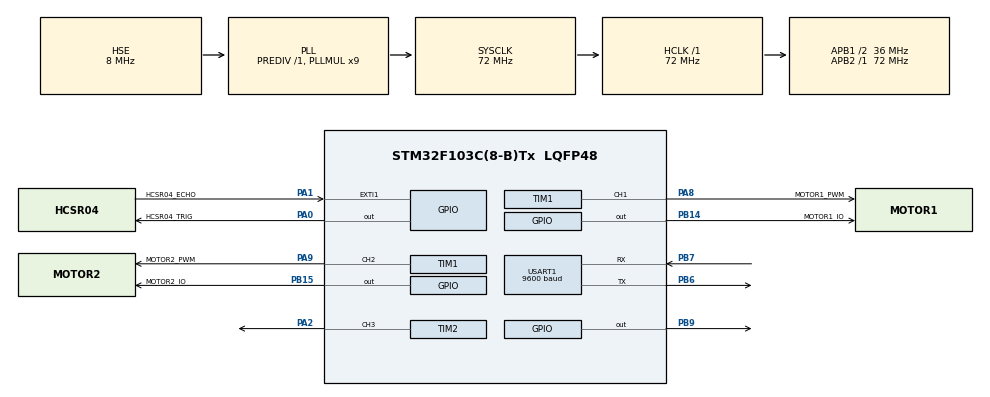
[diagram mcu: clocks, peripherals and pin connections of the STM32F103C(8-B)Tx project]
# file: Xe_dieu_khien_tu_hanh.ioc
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Mcu.Family=STM32F1
Mcu.Name=STM32F103C(8-B)Tx
Mcu.Package=LQFP48
NVIC.EXTI1_IRQn=true\:1\:0\:true\:false\:true\:true\:true\:true
NVIC.PriorityGroup=NVIC_PRIORITYGROUP_4
NVIC.USART1_IRQn=true\:1\:0\:true\:false\:true\:true\:true\:true
PA0-WKUP.GPIO_Label=HCSR04_TRIG
PA0-WKUP.Signal=GPIO_Output
PA1.GPIO_Label=HCSR04_ECHO
PA1.GPIO_ModeDefaultEXTI=GPIO_MODE_IT_RISING_FALLING
PA1.GPIO_PuPd=GPIO_PULLUP
PA1.Signal=GPXTI1
PA13.Mode=Serial_Wire
PA13.Signal=SYS_JTMS-SWDIO
PA14.Mode=Serial_Wire
PA14.Signal=SYS_JTCK-SWCLK
PA2.Signal=S_TIM2_CH3
PA8.GPIO_Label=MOTOR1_PWM
PA8.Signal=S_TIM1_CH1
PA9.GPIO_Label=MOTOR2_PWM
PA9.Signal=S_TIM1_CH2
PB14.GPIO_Label=MOTOR1_IO
PB14.Signal=GPIO_Output
PB15.GPIO_Label=MOTOR2_IO
PB15.Signal=GPIO_Output
PB6.Mode=Asynchronous
PB6.Signal=USART1_TX
PB7.Mode=Asynchronous
PB7.Signal=USART1_RX
PB9.Signal=GPIO_Output
PD0-OSC_IN.Mode=HSE-External-Oscillator
PD0-OSC_IN.Signal=RCC_OSC_IN
PD1-OSC_OUT.Mode=HSE-External-Oscillator
PD1-OSC_OUT.Signal=RCC_OSC_OUT
ProjectManager.HeapSize=0x200
ProjectManager.StackSize=0x400
ProjectManager.TargetToolchain=MDK-ARM V5.32
RCC.AHBFreq_Value=72000000
RCC.APB1CLKDivider=RCC_HCLK_DIV2
RCC.APB1Freq_Value=36000000
RCC.APB1TimFreq_Value=72000000
RCC.APB2Freq_Value=72000000
RCC.APB2TimFreq_Value=72000000
RCC.HCLKFreq_Value=72000000
RCC.PLLMUL=RCC_PLL_MUL9
RCC.PLLSourceVirtual=RCC_PLLSOURCE_HSE
RCC.SYSCLKFreq_VALUE=72000000
RCC.SYSCLKSource=RCC_SYSCLKSOURCE_PLLCLK
RCC.USBFreq_Value=72000000
SH.S_TIM1_CH1.0=TIM1_CH1,PWM Generation1 CH1
SH.S_TIM1_CH2.0=TIM1_CH2,PWM Generation2 CH2
SH.S_TIM2_CH3.0=TIM2_CH3,PWM Generation3 CH3
TIM1.Channel-PWM\ Generation1\ CH1=TIM_CHANNEL_1
TIM1.Channel-PWM\ Generation2\ CH2=TIM_CHANNEL_2
TIM1.Period=1000-1
TIM1.Prescaler=72-1
TIM2.Channel-PWM\ Generation3\ CH3=TIM_CHANNEL_3
TIM2.Period=20000-1
TIM2.Prescaler=72-1
TIM3.Prescaler=72-1
USART1.BaudRate=9600
USART1.VirtualMode=VM_ASYNC
VP_TIM1_VS_ClockSourceINT.Mode=Internal
VP_TIM2_VS_ClockSourceINT.Mode=Internal
VP_TIM3_VS_ClockSourceINT.Mode=Internal
board=custom

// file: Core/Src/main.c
/* USER CODE BEGIN Header */
/**
  ******************************************************************************
  * @file           : main.c
  * @brief          : Main program body
  ******************************************************************************
  * @attention
  *
  * Copyright (c) 2022 STMicroelectronics.
  * All rights reserved.
  *
  * This software is licensed under terms that can be found in the LICENSE file
  * in the root directory of this software component.
  * If no LICENSE file comes with this software, it is provided AS-IS.
  *
  ******************************************************************************
  */
/* USER CODE END Header */
#include "main.h"

/* USER CODE BEGIN Includes */
#include "car.h"
#include "motor.h"
#include "pwm.h"
#include "direction_handle.h"
#include "hcsr04.h"
#include "Servo.h"

/* USER CODE END Includes */

 TIM_HandleTypeDef htim1;
TIM_HandleTypeDef htim2;
TIM_HandleTypeDef htim3;

UART_HandleTypeDef huart1;

void SystemClock_Config(void);
static void MX_GPIO_Init(void);
static void MX_TIM1_Init(void);
static void MX_USART1_UART_Init(void);
static void MX_TIM2_Init(void);
static void MX_TIM3_Init(void);

/* USER CODE BEGIN 0 */

// Nhan mot byte => sinh ra ngat
// Mot chu cai trong ascii la 1 byte
uint8_t data_rx;
uint8_t uart_flag=0;
uint8_t car_speed = 100;

hcsr04_t hcsr04;
Servo sv1;
extern uint8_t buff_distance[2];
extern uint8_t go_back;
extern uint16_t goc;

void HAL_UART_RxCpltCallback(UART_HandleTypeDef *huart)
{
	if (huart->Instance == huart1.Instance)
		{
			uart_flag=1;
			HAL_UART_Receive_IT(&huart1,&data_rx,1);
		}
}

/* USER CODE END 0 */

int main(void)
{

  /* MCU Configuration--------------------------------------------------------*/

  /* Reset of all peripherals, Initializes the Flash interface and the Systick. */
  HAL_Init();

  /* Configure the system clock */
  SystemClock_Config();

  /* Initialize all configured peripherals */
  MX_GPIO_Init();
  MX_TIM1_Init();
  MX_USART1_UART_Init();
  MX_TIM2_Init();
  MX_TIM3_Init();
  /* USER CODE BEGIN 2 */
  car_init(&htim1);
	HAL_UART_Receive_IT(&huart1,&data_rx,1);
  HCSR04_init(&hcsr04,&htim3);
	servo_init(&sv1,&htim2,TIM_CHANNEL_3);

  /* USER CODE END 2 */

  /* Infinite loop */
  while (1)
  {

    /* USER CODE BEGIN 3 */

		if (uart_flag)
		{
		  while (data_rx == 'X')
			{
				HAL_GPIO_WritePin(GPIOB,GPIO_PIN_9,1);
				get_instance();
			}
			HAL_GPIO_WritePin(GPIOB,GPIO_PIN_9,0);

			switch(data_rx)
			{
				case 'S' :
						car_control(CAR_STOP_STATE,0);
				case 'x' :
						car_control(CAR_STOP_STATE,0);
						break;
				case 'F' :
						car_control(CAR_FORWARD_STATE,car_speed);
						break;
				case 'B' :
						car_control(CAR_BACKWARD_STATE,car_speed);
						break;
				case 'L' :
						car_control(CAR_LEFT_STATE,car_speed);
						break;
				case 'R' :
						car_control(CAR_RIGHT_STATE,car_speed);
						break;
				default:
					if(data_rx>'0' && data_rx <= '9')
					{
						car_speed = (data_rx - '0')*10;
					}
					else if (data_rx == 'q')
					{
						car_speed=100;
					}
				break;
			}
			uart_flag=0;
		}
  }
  /* USER CODE END 3 */
}

void SystemClock_Config(void)
{
  RCC_OscInitTypeDef RCC_OscInitStruct = {0};
  RCC_ClkInitTypeDef RCC_ClkInitStruct = {0};

  /** Initializes the RCC Oscillators according to the specified parameters
  * in the RCC_OscInitTypeDef structure.
  */
  RCC_OscInitStruct.OscillatorType = RCC_OSCILLATORTYPE_HSE;
  RCC_OscInitStruct.HSEState = RCC_HSE_ON;
  RCC_OscInitStruct.HSEPredivValue = RCC_HSE_PREDIV_DIV1;
  RCC_OscInitStruct.HSIState = RCC_HSI_ON;
  RCC_OscInitStruct.PLL.PLLState = RCC_PLL_ON;
  RCC_OscInitStruct.PLL.PLLSource = RCC_PLLSOURCE_HSE;
  RCC_OscInitStruct.PLL.PLLMUL = RCC_PLL_MUL9;
  if (HAL_RCC_OscConfig(&RCC_OscInitStruct) != HAL_OK)
  {
    Error_Handler();
  }

  /** Initializes the CPU, AHB and APB buses clocks
  */
  RCC_ClkInitStruct.ClockType = RCC_CLOCKTYPE_HCLK|RCC_CLOCKTYPE_SYSCLK
                              |RCC_CLOCKTYPE_PCLK1|RCC_CLOCKTYPE_PCLK2;
  RCC_ClkInitStruct.SYSCLKSource = RCC_SYSCLKSOURCE_PLLCLK;
  RCC_ClkInitStruct.AHBCLKDivider = RCC_SYSCLK_DIV1;
  RCC_ClkInitStruct.APB1CLKDivider = RCC_HCLK_DIV2;
  RCC_ClkInitStruct.APB2CLKDivider = RCC_HCLK_DIV1;

  if (HAL_RCC_ClockConfig(&RCC_ClkInitStruct, FLASH_LATENCY_2) != HAL_OK)
  {
    Error_Handler();
  }
}

static void MX_TIM1_Init(void)
{

  TIM_ClockConfigTypeDef sClockSourceConfig = {0};
  TIM_MasterConfigTypeDef sMasterConfig = {0};
  TIM_OC_InitTypeDef sConfigOC = {0};
  TIM_BreakDeadTimeConfigTypeDef sBreakDeadTimeConfig = {0};

  htim1.Instance = TIM1;
  htim1.Init.Prescaler = 72-1;
  htim1.Init.CounterMode = TIM_COUNTERMODE_UP;
  htim1.Init.Period = 1000-1;
  htim1.Init.ClockDivision = TIM_CLOCKDIVISION_DIV1;
  htim1.Init.RepetitionCounter = 0;
  htim1.Init.AutoReloadPreload = TIM_AUTORELOAD_PRELOAD_DISABLE;
  if (HAL_TIM_Base_Init(&htim1) != HAL_OK)
  {
    Error_Handler();
  }
  sClockSourceConfig.ClockSource = TIM_CLOCKSOURCE_INTERNAL;
  if (HAL_TIM_ConfigClockSource(&htim1, &sClockSourceConfig) != HAL_OK)
  {
    Error_Handler();
  }
  if (HAL_TIM_PWM_Init(&htim1) != HAL_OK)
  {
    Error_Handler();
  }
  sMasterConfig.MasterOutputTrigger = TIM_TRGO_RESET;
  sMasterConfig.MasterSlaveMode = TIM_MASTERSLAVEMODE_DISABLE;
  if (HAL_TIMEx_MasterConfigSynchronization(&htim1, &sMasterConfig) != HAL_OK)
  {
    Error_Handler();
  }
  sConfigOC.OCMode = TIM_OCMODE_PWM1;
  sConfigOC.Pulse = 0;
  sConfigOC.OCPolarity = TIM_OCPOLARITY_HIGH;
  sConfigOC.OCNPolarity = TIM_OCNPOLARITY_HIGH;
  sConfigOC.OCFastMode = TIM_OCFAST_DISABLE;
  sConfigOC.OCIdleState = TIM_OCIDLESTATE_RESET;
  sConfigOC.OCNIdleState = TIM_OCNIDLESTATE_RESET;
  if (HAL_TIM_PWM_ConfigChannel(&htim1, &sConfigOC, TIM_CHANNEL_1) != HAL_OK)
  {
    Error_Handler();
  }
  if (HAL_TIM_PWM_ConfigChannel(&htim1, &sConfigOC, TIM_CHANNEL_2) != HAL_OK)
  {
    Error_Handler();
  }
  sBreakDeadTimeConfig.OffStateRunMode = TIM_OSSR_DISABLE;
  sBreakDeadTimeConfig.OffStateIDLEMode = TIM_OSSI_DISABLE;
  sBreakDeadTimeConfig.LockLevel = TIM_LOCKLEVEL_OFF;
  sBreakDeadTimeConfig.DeadTime = 0;
  sBreakDeadTimeConfig.BreakState = TIM_BREAK_DISABLE;
  sBreakDeadTimeConfig.BreakPolarity = TIM_BREAKPOLARITY_HIGH;
  sBreakDeadTimeConfig.AutomaticOutput = TIM_AUTOMATICOUTPUT_DISABLE;
  if (HAL_TIMEx_ConfigBreakDeadTime(&htim1, &sBreakDeadTimeConfig) != HAL_OK)
  {
    Error_Handler();
  }
  HAL_TIM_MspPostInit(&htim1);

}

static void MX_TIM2_Init(void)
{

  TIM_ClockConfigTypeDef sClockSourceConfig = {0};
  TIM_MasterConfigTypeDef sMasterConfig = {0};
  TIM_OC_InitTypeDef sConfigOC = {0};

  htim2.Instance = TIM2;
  htim2.Init.Prescaler = 72-1;
  htim2.Init.CounterMode = TIM_COUNTERMODE_UP;
  htim2.Init.Period = 20000-1;
  htim2.Init.ClockDivision = TIM_CLOCKDIVISION_DIV1;
  htim2.Init.AutoReloadPreload = TIM_AUTORELOAD_PRELOAD_DISABLE;
  if (HAL_TIM_Base_Init(&htim2) != HAL_OK)
  {
    Error_Handler();
  }
  sClockSourceConfig.ClockSource = TIM_CLOCKSOURCE_INTERNAL;
  if (HAL_TIM_ConfigClockSource(&htim2, &sClockSourceConfig) != HAL_OK)
  {
    Error_Handler();
  }
  if (HAL_TIM_PWM_Init(&htim2) != HAL_OK)
  {
    Error_Handler();
  }
  sMasterConfig.MasterOutputTrigger = TIM_TRGO_RESET;
  sMasterConfig.MasterSlaveMode = TIM_MASTERSLAVEMODE_DISABLE;
  if (HAL_TIMEx_MasterConfigSynchronization(&htim2, &sMasterConfig) != HAL_OK)
  {
    Error_Handler();
  }
  sConfigOC.OCMode = TIM_OCMODE_PWM1;
  sConfigOC.Pulse = 0;
  sConfigOC.OCPolarity = TIM_OCPOLARITY_HIGH;
  sConfigOC.OCFastMode = TIM_OCFAST_DISABLE;
  if (HAL_TIM_PWM_ConfigChannel(&htim2, &sConfigOC, TIM_CHANNEL_3) != HAL_OK)
  {
    Error_Handler();
  }
  HAL_TIM_MspPostInit(&htim2);

}

static void MX_TIM3_Init(void)
{

  TIM_ClockConfigTypeDef sClockSourceConfig = {0};
  TIM_MasterConfigTypeDef sMasterConfig = {0};

  htim3.Instance = TIM3;
  htim3.Init.Prescaler = 72-1;
  htim3.Init.CounterMode = TIM_COUNTERMODE_UP;
  htim3.Init.Period = 65535;
  htim3.Init.ClockDivision = TIM_CLOCKDIVISION_DIV1;
  htim3.Init.AutoReloadPreload = TIM_AUTORELOAD_PRELOAD_DISABLE;
  if (HAL_TIM_Base_Init(&htim3) != HAL_OK)
  {
    Error_Handler();
  }
  sClockSourceConfig.ClockSource = TIM_CLOCKSOURCE_INTERNAL;
  if (HAL_TIM_ConfigClockSource(&htim3, &sClockSourceConfig) != HAL_OK)
  {
    Error_Handler();
  }
  sMasterConfig.MasterOutputTrigger = TIM_TRGO_RESET;
  sMasterConfig.MasterSlaveMode = TIM_MASTERSLAVEMODE_DISABLE;
  if (HAL_TIMEx_MasterConfigSynchronization(&htim3, &sMasterConfig) != HAL_OK)
  {
    Error_Handler();
  }

}

static void MX_USART1_UART_Init(void)
{

  huart1.Instance = USART1;
  huart1.Init.BaudRate = 9600;
  huart1.Init.WordLength = UART_WORDLENGTH_8B;
  huart1.Init.StopBits = UART_STOPBITS_1;
  huart1.Init.Parity = UART_PARITY_NONE;
  huart1.Init.Mode = UART_MODE_TX_RX;
  huart1.Init.HwFlowCtl = UART_HWCONTROL_NONE;
  huart1.Init.OverSampling = UART_OVERSAMPLING_16;
  if (HAL_UART_Init(&huart1) != HAL_OK)
  {
    Error_Handler();
  }

}

static void MX_GPIO_Init(void)
{
  GPIO_InitTypeDef GPIO_InitStruct = {0};

  /* GPIO Ports Clock Enable */
  __HAL_RCC_GPIOD_CLK_ENABLE();
  __HAL_RCC_GPIOA_CLK_ENABLE();
  __HAL_RCC_GPIOB_CLK_ENABLE();

  /*Configure GPIO pin Output Level */
  HAL_GPIO_WritePin(HCSR04_TRIG_GPIO_Port, HCSR04_TRIG_Pin, GPIO_PIN_RESET);

  /*Configure GPIO pin Output Level */
  HAL_GPIO_WritePin(GPIOB, MOTOR1_IO_Pin|MOTOR2_IO_Pin|GPIO_PIN_9, GPIO_PIN_RESET);

  /*Configure GPIO pin : HCSR04_TRIG_Pin */
  GPIO_InitStruct.Pin = HCSR04_TRIG_Pin;
  GPIO_InitStruct.Mode = GPIO_MODE_OUTPUT_PP;
  GPIO_InitStruct.Pull = GPIO_NOPULL;
  GPIO_InitStruct.Speed = GPIO_SPEED_FREQ_LOW;
  HAL_GPIO_Init(HCSR04_TRIG_GPIO_Port, &GPIO_InitStruct);

  /*Configure GPIO pin : HCSR04_ECHO_Pin */
  GPIO_InitStruct.Pin = HCSR04_ECHO_Pin;
  GPIO_InitStruct.Mode = GPIO_MODE_IT_RISING_FALLING;
  GPIO_InitStruct.Pull = GPIO_PULLUP;
  HAL_GPIO_Init(HCSR04_ECHO_GPIO_Port, &GPIO_InitStruct);

  /*Configure GPIO pins : MOTOR1_IO_Pin MOTOR2_IO_Pin PB9 */
  GPIO_InitStruct.Pin = MOTOR1_IO_Pin|MOTOR2_IO_Pin|GPIO_PIN_9;
  GPIO_InitStruct.Mode = GPIO_MODE_OUTPUT_PP;
  GPIO_InitStruct.Pull = GPIO_NOPULL;
  GPIO_InitStruct.Speed = GPIO_SPEED_FREQ_LOW;
  HAL_GPIO_Init(GPIOB, &GPIO_InitStruct);

  /* EXTI interrupt init*/
  HAL_NVIC_SetPriority(EXTI1_IRQn, 1, 0);
  HAL_NVIC_EnableIRQ(EXTI1_IRQn);

}

void Error_Handler(void)
{
  __disable_irq();
  while (1)
  {
  }
}
